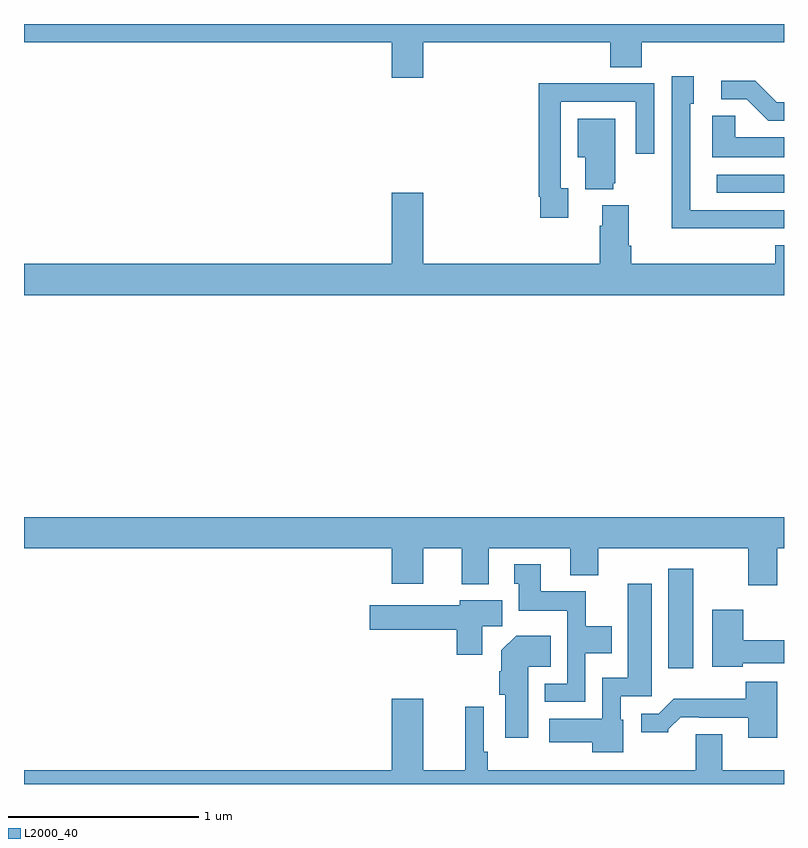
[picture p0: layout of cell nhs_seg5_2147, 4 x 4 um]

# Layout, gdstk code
import gdstk
lib = gdstk.Library(unit=1e-6, precision=1e-09)
def R(c, l, rs):  # rectangles x0, y0, x1, y1
    for r in rs: c.add(gdstk.rectangle(r[:2], r[2:], *l))
def P(c, l, *ps):  # polygons
    for p in ps: c.add(gdstk.Polygon(p, *l))
L2000_40 = (2000, 40)

nhs_seg5_2147 = lib.new_cell('nhs_seg5_2147')
R(nhs_seg5_2147, L2000_40, [(238.391,909.408,238.522,909.931), (238.647,911.91,239,912.006)])
P(nhs_seg5_2147, L2000_40, [(237.1,912.704),(238.085,912.704),(238.085,912.571),(238.25,912.571),(238.25,912.704),(239,912.704),(239,912.799),(235,912.799),(235,912.704),(236.936,912.704),(236.936,912.516),(237.1,912.516)],
  [(238.871,911.724),(239,911.724),(239,911.82),(238.506,911.82),(238.506,912.378),(238.525,912.378),(238.525,912.523),(238.41,912.523),(238.41,912.029),(238.408,912.029),(238.408,911.723),(238.871,911.723)],
  [(239,912.387),(238.962,912.387),(238.849,912.5),(238.671,912.5),(238.671,912.402),(238.805,912.402),(238.916,912.291),(239,912.291)],
  [(237.865,911.934),(237.825,911.934),(237.825,912.39),(238.221,912.39),(238.221,912.117),(238.317,912.117),(238.317,912.486),(238.001,912.486),(238.001,912.488),(237.709,912.488),(237.709,911.89),(237.717,911.89),(237.717,911.778),(237.865,911.778)],
  [(239,912.202),(238.743,912.202),(238.743,912.317),(238.622,912.317),(238.622,912.098),(239,912.098)],
  [(238.1,911.961),(238.111,911.961),(238.111,912.301),(237.914,912.301),(237.914,912.098),(237.953,912.098),(237.953,911.93),(238.1,911.93)],
  [(239,911.635),(238.955,911.635),(238.955,911.536),(238.196,911.536),(238.196,911.632),(238.183,911.632),(238.183,911.845),(238.043,911.845),(238.043,911.738),(238.031,911.738),(238.031,911.536),(237.1,911.536),(237.1,911.911),(236.936,911.911),(236.936,911.536),(235,911.536),(235,911.372),(239,911.372)],
  [(238.964,910.04),(239,910.04),(239,910.204),(235,910.204),(235,910.04),(236.936,910.04),(236.936,909.852),(237.1,909.852),(237.1,910.04),(237.305,910.04),(237.305,909.851),(237.445,909.851),(237.445,910.04),(237.875,910.04),(237.875,909.899),(238.023,909.899),(238.023,910.04),(238.811,910.04),(238.811,909.846),(238.964,909.846)],
  [(237.954,909.488),(238.093,909.488),(238.093,909.628),(237.957,909.628),(237.957,909.814),(237.721,909.814),(237.721,909.955),(237.581,909.955),(237.581,909.852),(237.605,909.852),(237.605,909.71),(237.858,909.71),(237.858,909.327),(237.741,909.327),(237.741,909.231),(237.954,909.231)],
  [(238.153,909.138),(238.14,909.138),(238.14,909.261),(238.303,909.261),(238.303,909.853),(238.178,909.853),(238.178,909.358),(238.044,909.358),(238.044,909.142),(237.765,909.142),(237.765,909.02),(237.992,909.02),(237.992,908.966),(238.153,908.966)],
  [(237.412,909.628),(237.517,909.628),(237.517,909.766),(237.294,909.766),(237.294,909.739),(236.82,909.739),(236.82,909.61),(237.278,909.61),(237.278,909.48),(237.412,909.48)],
  [(238.782,909.434),(239,909.434),(239,909.556),(238.786,909.556),(238.786,909.715),(238.622,909.715),(238.622,909.416),(238.782,909.416)],
  [(237.655,909.416),(237.773,909.416),(237.773,909.58),(237.59,909.58),(237.512,909.502),(237.512,909.392),(237.5,909.392),(237.5,909.27),(237.533,909.27),(237.533,909.042),(237.655,909.042)],
  [(238.964,909.337),(238.799,909.337),(238.799,909.247),(238.42,909.247),(238.341,909.168),(238.248,909.168),(238.248,909.071),(238.392,909.071),(238.392,909.086),(238.456,909.15),(238.555,909.15),(238.555,909.147),(238.811,909.147),(238.811,909.042),(238.964,909.042)],
  [(239,908.872),(238.675,908.872),(238.675,909.062),(238.535,909.062),(238.535,908.872),(237.44,908.872),(237.44,908.968),(237.42,908.968),(237.42,909.205),(237.322,909.205),(237.322,908.872),(237.1,908.872),(237.1,909.247),(236.936,909.247),(236.936,908.872),(235,908.872),(235,908.799),(239,908.799)])

lib.write_gds('nhs_seg5_2147.gds')
